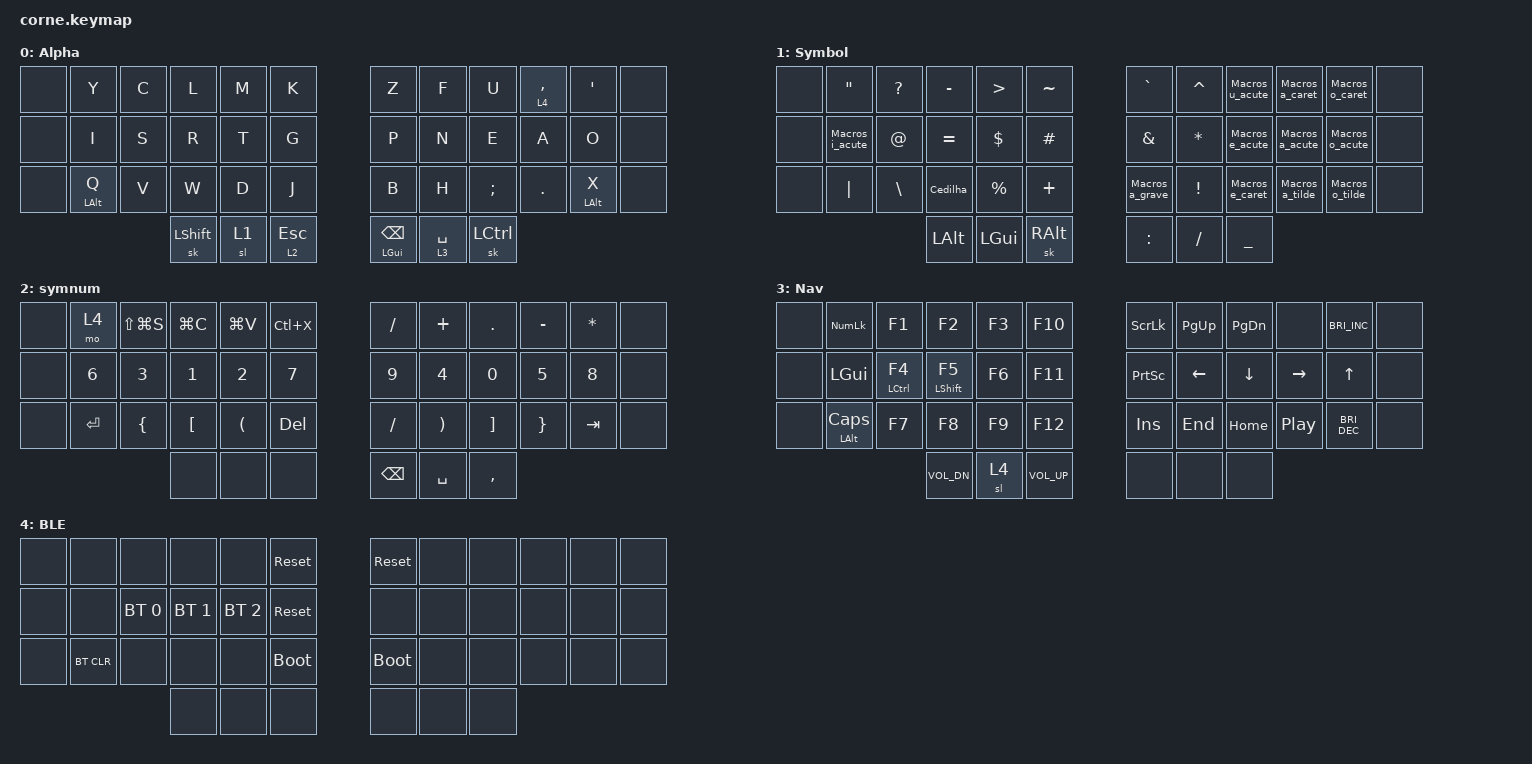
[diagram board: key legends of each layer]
/*
 * Copyright (c) 2020 The ZMK Contributors
 *
 * SPDX-License-Identifier: MIT
 */

#include <behaviors.dtsi>
#include <dt-bindings/zmk/bt.h>
#include <dt-bindings/zmk/keys.h>

&mt {
    flavor = "tap-preferred";
    quick-tap-ms = <200>;
    retro-tap;
};

&sk { quick-release; };

&lt { quick-tap-ms = <200>; };

/ {
    behaviors {
        gqt: global-quick-tap {
            compatible = "zmk,behavior-hold-tap";
            label = "GLOBAL_QUICK_TAP";
            #binding-cells = <2>;
            flavor = "tap-preferred";
            tapping-term-ms = <200>;
            quick-tap-ms = <200>;
            global-quick-tap;
            bindings = <&kp>, <&kp>;
        };

        qlt: qlt {
            compatible = "zmk,behavior-hold-tap";
            label = "QLT";
            bindings = <&mo>, <&kp>;

            #binding-cells = <2>;
            tapping-term-ms = <100>;
            flavor = "balanced";
            retro-tap;
        };
    };

    combos {
        compatible = "zmk,combos";

        Ctrl_Backspace {
            timeout-ms = <50>;
            layers = <0 1>;
            bindings = <&kp ENTER>;
            key-positions = <8 9>;
        };

        Tab {
            bindings = <&kp TAB>;
            key-positions = <33 32>;
        };
    };

    macros {
        ctrl_backspace: ctrl_backspace {
            compatible = "zmk,behavior-macro";
            label = "new_macro";
            #binding-cells = <0>;
            bindings =
                <&macro_press>,
                <&kp RIGHT_CONTROL>,
                <&macro_tap>,
                <&kp BACKSPACE>,
                <&macro_release>,
                <&kp RIGHT_CONTROL>;
        };

        Shift_enter: Shift_enter {
            compatible = "zmk,behavior-macro";
            label = "new_macro";
            #binding-cells = <0>;
            bindings = <&sk LEFT_SHIFT &kp ENTER>;
        };

        ZMK_MACRO(

        Macros_a_acute,
        wait-ms = <0>;
        tap-ms = <0>;
        bindings =
            <&macro_press>,
            <&kp RALT>,
            <&macro_tap>,
            <&kp A>,
            <&macro_release>,
            <&kp RALT>;

        )
        ZMK_MACRO(

        Macros_e_acute,
        wait-ms = <0>;
        tap-ms = <0>;
        bindings =
            <&macro_press>,
            <&kp RALT>,
            <&macro_tap>,
            <&kp E>,
            <&macro_release>,
            <&kp RALT>;

        )
        ZMK_MACRO(

        Macros_i_acute,
        wait-ms = <0>;
        tap-ms = <0>;
        bindings =
            <&macro_press>,
            <&kp RALT>,
            <&macro_tap>,
            <&kp I>,
            <&macro_release>,
            <&kp RALT>;

        )
        ZMK_MACRO(

        Macros_o_acute,
        wait-ms = <0>;
        tap-ms = <0>;
        bindings =
            <&macro_press>,
            <&kp RALT>,
            <&macro_tap>,
            <&kp O>,
            <&macro_release>,
            <&kp RALT>;

        )
        ZMK_MACRO(

        Macros_u_acute,
        wait-ms = <0>;
        tap-ms = <0>;
        bindings =
            <&macro_press>,
            <&kp RALT>,
            <&macro_tap>,
            <&kp U>,
            <&macro_release>,
            <&kp RALT>;

        )
        ZMK_MACRO(

        Macros_a_grave,
        wait-ms = <0>;
        tap-ms = <0>;
        bindings =
            <&macro_press>,
            <&kp RALT>,
            <&macro_tap>,
            <&kp GRAVE>,
            <&macro_release>,
            <&kp RALT>,
            <&macro_tap>,
            <&kp A>;

        )
        ZMK_MACRO(

        Macros_a_caret,
        wait-ms = <0>;
        tap-ms = <0>;
        bindings =
            <&macro_press>,
            <&kp RALT>,
            <&macro_tap>,
            <&kp NUMBER_6>,
            <&macro_release>,
            <&kp RALT>,
            <&macro_tap>,
            <&kp A>;

        )
        ZMK_MACRO(

        Macros_e_caret,
        wait-ms = <0>;
        tap-ms = <0>;
        bindings =
            <&macro_press>,
            <&kp RALT>,
            <&macro_tap>,
            <&kp NUMBER_6>,
            <&macro_release>,
            <&kp RALT>,
            <&macro_tap>,
            <&kp E>;

        )
        ZMK_MACRO(

        Macros_o_caret,
        wait-ms = <0>;
        tap-ms = <0>;
        bindings =
            <&macro_press>,
            <&kp RALT>,
            <&macro_tap>,
            <&kp NUMBER_6>,
            <&macro_release>,
            <&kp RALT>,
            <&macro_tap>,
            <&kp O>;

        )
        ZMK_MACRO(

        Macros_a_tilde,
        wait-ms = <0>;
        tap-ms = <0>;
        bindings =
            <&macro_press>,
            <&kp RALT>,
            <&macro_tap>,
            <&kp TILDE>,
            <&macro_release>,
            <&kp RALT>,
            <&macro_tap>,
            <&kp A>;

        )
        ZMK_MACRO(

        Macros_o_tilde,
        wait-ms = <0>;
        tap-ms = <0>;
        bindings =
            <&macro_press>,
            <&kp RALT>,
            <&macro_tap>,
            <&kp TILDE>,
            <&macro_release>,
            <&kp RALT>,
            <&macro_tap>,
            <&kp O>;

        )
        ZMK_MACRO(

        Cedilha,
        wait-ms = <0>;
        tap-ms = <0>;
        bindings =
            <&macro_press>,
            <&kp RALT>,
            <&macro_tap>,
            <&kp COMMA>,
            <&macro_release>,
            <&kp RALT>;

        )
    };

    keymap {
        compatible = "zmk,keymap";

        Alpha {
            // -----------------------------------------------------------------------------------------
            // |  TAB |  Q  |  W  |  E  |  R  |  T  |   |  Y  |  U   |  I  |  O  |  P  | BKSP |
            // | CTRL |  A  |  S  |  D  |  F  |  G  |   |  H  |  J   |  K  |  L  |  ;  |  '   |
            // | SHFT |  Z  |  X  |  C  |  V  |  B  |   |  N  |  M   |  ,  |  .  |  /  | ESC  |
            //                    | GUI | LWR | SPC |   | ENT | RSE  | ALT |

            bindings = <
&none  &kp Y           &kp C  &kp L           &kp M  &kp K         &kp Z               &kp F        &kp U          &lt 4 COMMA  &kp APOSTROPHE  &none
&none  &kp I           &kp S  &kp R           &kp T  &kp G         &kp P               &kp N        &kp E          &kp A        &kp O           &none
&none  &mt LEFT_ALT Q  &kp V  &kp W           &kp D  &kp J         &kp B               &kp H        &kp SEMICOLON  &kp DOT      &mt LEFT_ALT X  &none
                              &sk LEFT_SHIFT  &sl 1  &qlt 2 ESC    &mt LGUI BACKSPACE  &lt 3 SPACE  &sk LCTRL
            >;
        };

        Symbol {
            // -----------------------------------------------------------------------------------------
            // |  TAB |  1  |  2  |  3  |  4  |  5  |   |  6  |  7  |  8  |  9  |  0  | BKSP |
            // | BTCLR| BT1 | BT2 | BT3 | BT4 | BT5 |   | LFT | DWN |  UP | RGT |     |      |
            // | SHFT |     |     |     |     |     |   |     |     |     |     |     |      |
            //                    | GUI |     | SPC |   | ENT |     | ALT |

            bindings = <
&none  &kp DOUBLE_QUOTES  &kp QUESTION   &kp MINUS     &kp GREATER_THAN  &kp TILDE    &kp GRAVE        &kp CARET        &Macros_u_acute  &Macros_a_caret  &Macros_o_caret  &none
&none  &Macros_i_acute    &kp AT         &kp EQUAL     &kp DLLR          &kp HASH     &kp AMPS         &kp STAR         &Macros_e_acute  &Macros_a_acute  &Macros_o_acute  &none
&none  &kp PIPE           &kp BACKSLASH  &Cedilha      &kp PERCENT       &kp PLUS     &Macros_a_grave  &kp EXCLAMATION  &Macros_e_caret  &Macros_a_tilde  &Macros_o_tilde  &none
                                         &kp LEFT_ALT  &kp LGUI          &sk RALT     &kp COLON        &kp SLASH        &kp UNDERSCORE
            >;
        };

        symnum {
            // -----------------------------------------------------------------------------------------
            // |  TAB |  !  |  @  |  #  |  $  |  %  |   |  ^  |  &  |  *  |  (  |  )  | BKSP |
            // | CTRL |     |     |     |     |     |   |  -  |  =  |  [  |  ]  |  \  |  `   |
            // | SHFT |     |     |     |     |     |   |  _  |  +  |  {  |  }  | "|" |  ~   |
            //                    | GUI |     | SPC |   | ENT |     | ALT |

            bindings = <
&none  &mo 4      &kp LS(LG(S))   &kp LG(C)         &kp LG(V)             &kp LC(X)     &kp SLASH      &kp PLUS               &kp DOT            &kp MINUS        &kp STAR  &none
&none  &kp N6     &kp N3          &kp N1            &kp N2                &kp N7        &kp N9         &kp N4                 &kp N0             &kp N5           &kp N8    &none
&none  &kp ENTER  &kp LEFT_BRACE  &kp LEFT_BRACKET  &kp LEFT_PARENTHESIS  &kp DELETE    &kp SLASH      &kp RIGHT_PARENTHESIS  &kp RIGHT_BRACKET  &kp RIGHT_BRACE  &kp TAB   &none
                                  &none             &none                 &none         &kp BACKSPACE  &kp SPACE              &kp COMMA
            >;
        };

        Nav {
            bindings = <
&none  &kp KP_NUM             &kp F1        &kp F2             &kp F3  &kp F10         &kp SCROLLLOCK   &kp PAGE_UP  &kp PAGE_DOWN  &none      &kp C_BRIGHTNESS_INC  &none
&none  &kp LEFT_GUI           &mt LCTRL F4  &mt LEFT_SHIFT F5  &kp F6  &kp F11         &kp PRINTSCREEN  &kp LEFT     &kp DOWN       &kp RIGHT  &kp UP                &none
&none  &mt LEFT_ALT CAPSLOCK  &kp F7        &kp F8             &kp F9  &kp F12         &kp INS          &kp END      &kp HOME       &kp C_PP   &kp C_BRIGHTNESS_DEC  &none
                                            &kp C_VOL_DN       &sl 4   &kp C_VOL_UP    &none            &none        &none
            >;
        };

        BLE {
            bindings = <
&none  &none       &none         &none         &none         &sys_reset     &sys_reset   &none  &none  &none  &none  &none
&none  &none       &bt BT_SEL 0  &bt BT_SEL 1  &bt BT_SEL 2  &sys_reset     &none        &none  &none  &none  &none  &none
&none  &bt BT_CLR  &none         &none         &none         &bootloader    &bootloader  &none  &none  &none  &none  &none
                                 &none         &none         &none          &none        &none  &none
            >;
        };
    };
};
